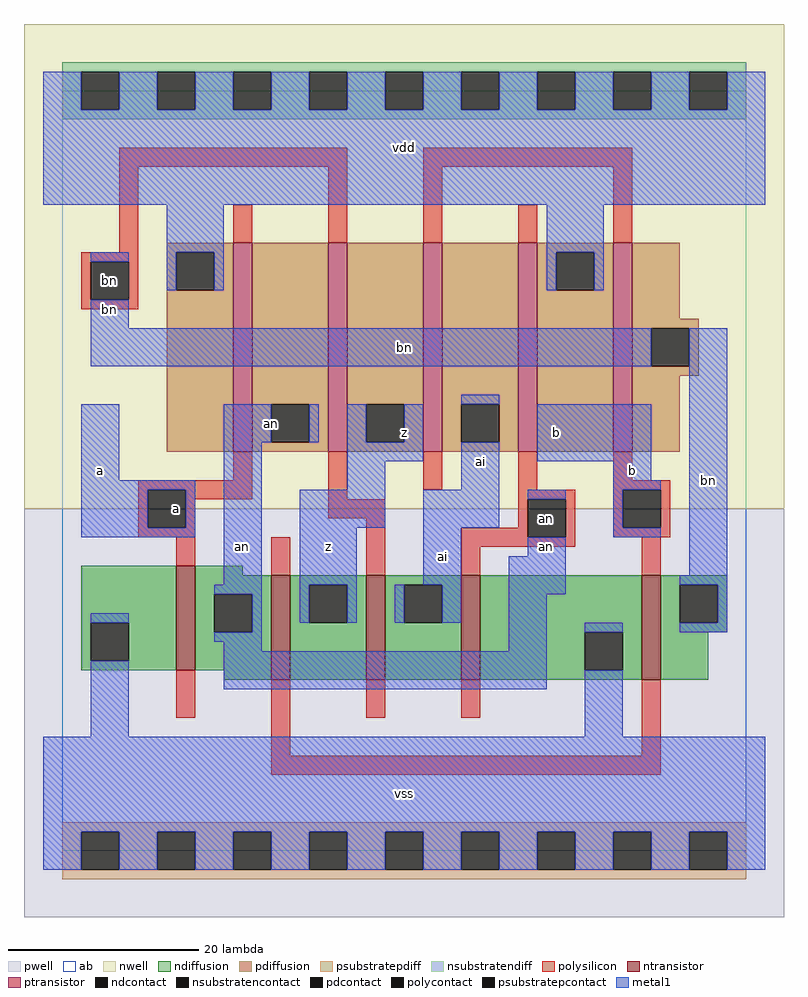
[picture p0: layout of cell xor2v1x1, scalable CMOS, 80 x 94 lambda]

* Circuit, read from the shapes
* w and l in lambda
.subckt xor2v1x1 a ai an b bn vdd vss z
M1 an a vss vss nfet w=11 l=2
M2 z b an vss nfet w=11 l=2
M3 ai bn z vss nfet w=11 l=2
M4 vss an ai vss nfet w=11 l=2
M5 bn b vss vss nfet w=11 l=2
M6 an a vdd vdd pfet w=22 l=2
M7 z bn an vdd pfet w=22 l=2
M8 ai b z vdd pfet w=22 l=2
M9 vdd an ai vdd pfet w=22 l=2
M10 bn b vdd vdd pfet w=22 l=2
.ends

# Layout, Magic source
magic
tech scmos
<< ab >>
rect 0 0 72 80
<< pwell >>
rect -4 -7 76 36
<< nwell >>
rect -4 36 76 87
<< polysilicon >>
rect 6 72 30 74
rect 6 63 8 72
rect 18 64 20 68
rect 28 64 30 72
rect 38 72 60 74
rect 38 64 40 72
rect 48 64 50 68
rect 58 64 60 72
rect 2 62 8 63
rect 2 58 3 62
rect 7 58 8 62
rect 2 57 8 58
rect 18 39 20 42
rect 8 38 20 39
rect 8 34 9 38
rect 13 37 20 38
rect 28 37 30 42
rect 38 38 40 42
rect 48 38 50 42
rect 58 39 60 42
rect 58 38 64 39
rect 48 37 54 38
rect 13 34 14 37
rect 28 35 34 37
rect 8 33 14 34
rect 12 30 14 33
rect 22 29 24 33
rect 32 29 34 35
rect 48 34 49 37
rect 42 33 49 34
rect 53 33 54 37
rect 58 34 59 38
rect 63 34 64 38
rect 58 33 64 34
rect 42 32 54 33
rect 42 29 44 32
rect 61 29 63 33
rect 12 14 14 19
rect 22 10 24 18
rect 32 14 34 18
rect 42 14 44 18
rect 61 10 63 18
rect 22 8 63 10
<< ndiffusion >>
rect 2 24 12 30
rect 2 20 3 24
rect 7 20 12 24
rect 2 19 12 20
rect 14 29 19 30
rect 14 27 22 29
rect 14 23 16 27
rect 20 23 22 27
rect 14 19 22 23
rect 17 18 22 19
rect 24 28 32 29
rect 24 24 26 28
rect 30 24 32 28
rect 24 18 32 24
rect 34 28 42 29
rect 34 24 36 28
rect 40 24 42 28
rect 34 18 42 24
rect 44 23 61 29
rect 44 19 55 23
rect 59 19 61 23
rect 44 18 61 19
rect 63 28 70 29
rect 63 24 65 28
rect 69 24 70 28
rect 63 23 70 24
rect 63 18 68 23
<< pdiffusion >>
rect 11 63 18 64
rect 11 59 12 63
rect 16 59 18 63
rect 11 42 18 59
rect 20 47 28 64
rect 20 43 22 47
rect 26 43 28 47
rect 20 42 28 43
rect 30 47 38 64
rect 30 43 32 47
rect 36 43 38 47
rect 30 42 38 43
rect 40 47 48 64
rect 40 43 42 47
rect 46 43 48 47
rect 40 42 48 43
rect 50 63 58 64
rect 50 59 52 63
rect 56 59 58 63
rect 50 42 58 59
rect 60 56 65 64
rect 60 55 67 56
rect 60 51 62 55
rect 66 51 67 55
rect 60 50 67 51
rect 60 42 65 50
<< metal1 >>
rect -2 78 2 82
rect 6 78 10 82
rect 14 78 18 82
rect 22 78 26 82
rect 30 78 34 82
rect 38 78 42 82
rect 46 78 50 82
rect 54 78 58 82
rect 62 78 66 82
rect 70 78 74 82
rect -2 68 74 78
rect 11 63 17 68
rect 3 62 7 63
rect 11 59 12 63
rect 16 59 17 63
rect 51 63 57 68
rect 51 59 52 63
rect 56 59 57 63
rect 3 55 7 58
rect 3 51 62 55
rect 42 47 46 48
rect 2 39 6 47
rect 17 43 22 47
rect 26 43 27 47
rect 30 43 32 47
rect 36 43 38 47
rect 2 38 14 39
rect 2 34 9 38
rect 13 34 14 38
rect 2 33 14 34
rect 17 28 21 43
rect 30 41 38 43
rect 30 38 34 41
rect 42 38 46 43
rect 50 41 62 47
rect 58 39 62 41
rect 58 38 63 39
rect 16 27 21 28
rect 3 24 7 25
rect 20 23 21 27
rect 25 34 34 38
rect 38 34 46 38
rect 49 37 53 38
rect 25 28 31 34
rect 38 28 42 34
rect 58 34 59 38
rect 58 33 63 34
rect 49 31 53 33
rect 25 24 26 28
rect 30 24 31 28
rect 35 24 36 28
rect 40 24 42 28
rect 47 27 53 31
rect 66 29 70 55
rect 65 28 70 29
rect 16 22 21 23
rect 3 12 7 20
rect 17 21 21 22
rect 47 21 51 27
rect 69 24 70 28
rect 17 17 51 21
rect 55 23 59 24
rect 65 23 70 24
rect 55 12 59 19
rect -2 2 74 12
rect -2 -2 2 2
rect 6 -2 10 2
rect 14 -2 18 2
rect 22 -2 26 2
rect 30 -2 34 2
rect 38 -2 42 2
rect 46 -2 50 2
rect 54 -2 58 2
rect 62 -2 66 2
rect 70 -2 74 2
<< ntransistor >>
rect 12 19 14 30
rect 22 18 24 29
rect 32 18 34 29
rect 42 18 44 29
rect 61 18 63 29
<< ptransistor >>
rect 18 42 20 64
rect 28 42 30 64
rect 38 42 40 64
rect 48 42 50 64
rect 58 42 60 64
<< polycontact >>
rect 3 58 7 62
rect 9 34 13 38
rect 49 33 53 37
rect 59 34 63 38
<< ndcontact >>
rect 3 20 7 24
rect 16 23 20 27
rect 26 24 30 28
rect 36 24 40 28
rect 55 19 59 23
rect 65 24 69 28
<< pdcontact >>
rect 12 59 16 63
rect 22 43 26 47
rect 32 43 36 47
rect 42 43 46 47
rect 52 59 56 63
rect 62 51 66 55
<< psubstratepcontact >>
rect 2 -2 6 2
rect 10 -2 14 2
rect 18 -2 22 2
rect 26 -2 30 2
rect 34 -2 38 2
rect 42 -2 46 2
rect 50 -2 54 2
rect 58 -2 62 2
rect 66 -2 70 2
<< nsubstratencontact >>
rect 2 78 6 82
rect 10 78 14 82
rect 18 78 22 82
rect 26 78 30 82
rect 34 78 38 82
rect 42 78 46 82
rect 50 78 54 82
rect 58 78 62 82
rect 66 78 70 82
<< psubstratepdiff >>
rect 0 2 72 3
rect 0 -2 2 2
rect 6 -2 10 2
rect 14 -2 18 2
rect 22 -2 26 2
rect 30 -2 34 2
rect 38 -2 42 2
rect 46 -2 50 2
rect 54 -2 58 2
rect 62 -2 66 2
rect 70 -2 72 2
rect 0 -3 72 -2
<< nsubstratendiff >>
rect 0 82 72 83
rect 0 78 2 82
rect 6 78 10 82
rect 14 78 18 82
rect 22 78 26 82
rect 30 78 34 82
rect 38 78 42 82
rect 46 78 50 82
rect 54 78 58 82
rect 62 78 66 82
rect 70 78 72 82
rect 0 77 72 78
<< labels >>
rlabel polycontact 5 60 5 60 6 bn
rlabel polycontact 51 35 51 35 6 an
rlabel metal1 4 40 4 40 6 a
rlabel metal1 5 57 5 57 6 bn
rlabel metal1 19 32 19 32 6 an
rlabel polycontact 12 36 12 36 6 a
rlabel metal1 22 45 22 45 6 an
rlabel metal1 36 6 36 6 6 vss
rlabel metal1 40 31 40 31 6 ai
rlabel metal1 28 32 28 32 6 z
rlabel metal1 36 44 36 44 6 z
rlabel metal1 36 74 36 74 6 vdd
rlabel metal1 51 32 51 32 6 an
rlabel metal1 52 44 52 44 6 b
rlabel metal1 44 41 44 41 6 ai
rlabel metal1 60 40 60 40 6 b
rlabel metal1 68 39 68 39 6 bn
rlabel metal1 36 53 36 53 6 bn
<< end >>
